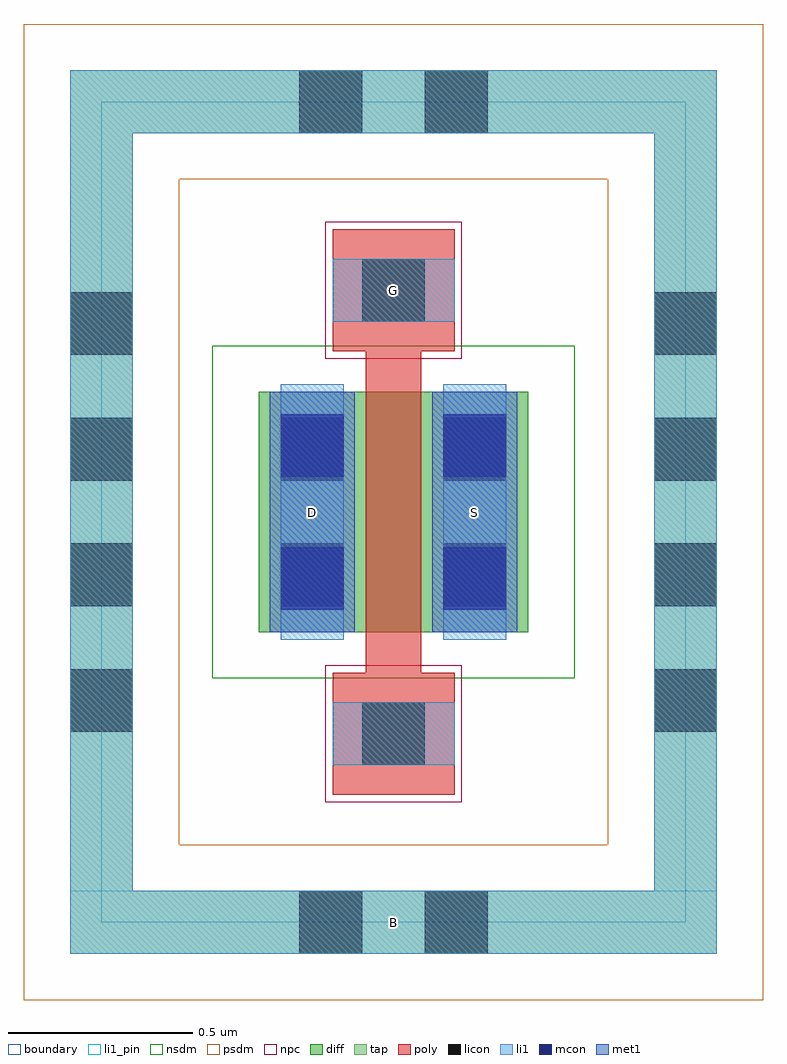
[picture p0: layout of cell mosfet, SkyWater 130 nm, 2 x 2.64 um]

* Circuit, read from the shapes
.subckt mosfet B D G S
XM1 S G D B sky130_fd_pr__nfet_01v8 w=0.65 l=0.15
.ends

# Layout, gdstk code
import gdstk
lib = gdstk.Library(unit=1e-6, precision=1e-09)
def R(c, l, rs):  # rectangles x0, y0, x1, y1
    for r in rs: c.add(gdstk.rectangle(r[:2], r[2:], *l))
def A(c, l, x, y, w, h, nx, ny, dx, dy):  # array of equal rectangles
    R(c, l, [(x+i*dx, y+j*dy, x+i*dx+w, y+j*dy+h) for i in range(nx) for j in range(ny)])
diff = (65, 20)
tap = (65, 44)
poly = (66, 20)
licon = (66, 44)
li1_pin = (67, 16)
li1 = (67, 20)
mcon = (67, 44)
met1 = (68, 20)
nsdm = (93, 44)
psdm = (94, 20)
npc = (95, 20)
boundary = (235, 4)

mosfet = lib.new_cell('mosfet')
R(mosfet, diff, [(-0.365,-0.325,0.365,0.325)])
R(mosfet, tap, [(-0.875,-1.195,0.875,-1.025), (-0.875,-1.025,-0.705,1.025), (0.705,-1.025,0.875,1.025), (-0.875,1.025,0.875,1.195)])
R(mosfet, poly, [(-0.165,-0.765,0.165,-0.435), (-0.075,-0.435,0.075,0.435), (-0.165,0.435,0.165,0.765)])
A(mosfet, licon, -0.875, -0.595, 0.17, 0.17, 1, 4, 0, 0.34)
A(mosfet, licon, 0.705, -0.595, 0.17, 0.17, 1, 4, 0, 0.34)
R(mosfet, licon, [(-0.255,-1.195,-0.085,-1.025), (0.085,-1.195,0.255,-1.025), (-0.085,-0.685,0.085,-0.515), (-0.305,-0.255,-0.135,-0.085), (0.135,-0.255,0.305,-0.085), (-0.305,0.085,-0.135,0.255), (0.135,0.085,0.305,0.255), (-0.085,0.515,0.085,0.685), (-0.255,1.025,-0.085,1.195), (0.085,1.025,0.255,1.195)])
R(mosfet, li1_pin, [(-0.875,-1.195,0.875,-1.025), (-0.305,-0.345,-0.135,0.345), (0.135,-0.345,0.305,0.345), (-0.165,0.515,0.165,0.685)])
R(mosfet, li1, [(-0.875,-1.195,0.875,-1.025), (-0.875,-1.025,-0.705,1.025), (0.705,-1.025,0.875,1.025), (-0.165,-0.685,0.165,-0.515), (-0.305,-0.345,-0.135,0.345), (0.135,-0.345,0.305,0.345), (-0.165,0.515,0.165,0.685), (-0.875,1.025,0.875,1.195)])
R(mosfet, mcon, [(-0.305,-0.265,-0.135,-0.095), (0.135,-0.265,0.305,-0.095), (-0.305,0.095,-0.135,0.265), (0.135,0.095,0.305,0.265)])
R(mosfet, met1, [(-0.335,-0.325,-0.105,0.325), (0.105,-0.325,0.335,0.325)])
R(mosfet, nsdm, [(-0.49,-0.45,0.49,0.45)])
R(mosfet, psdm, [(-1,-1.32,1,-0.9), (-1,-0.9,-0.58,0.9), (0.58,-0.9,1,0.9), (-1,0.9,1,1.32)])
R(mosfet, npc, [(-0.185,-0.785,0.185,-0.415), (-0.185,0.415,0.185,0.785)])
R(mosfet, boundary, [(-0.79,-1.11,0.79,1.11)])
mosfet.add(gdstk.Label('G', (0,0.6), layer=67, texttype=5))
mosfet.add(gdstk.Label('S', (0.22,0), layer=67, texttype=5))
mosfet.add(gdstk.Label('D', (-0.22,0), layer=67, texttype=5))
mosfet.add(gdstk.Label('B', (0,-1.11), layer=67, texttype=5))

lib.write_gds('mosfet.gds')
